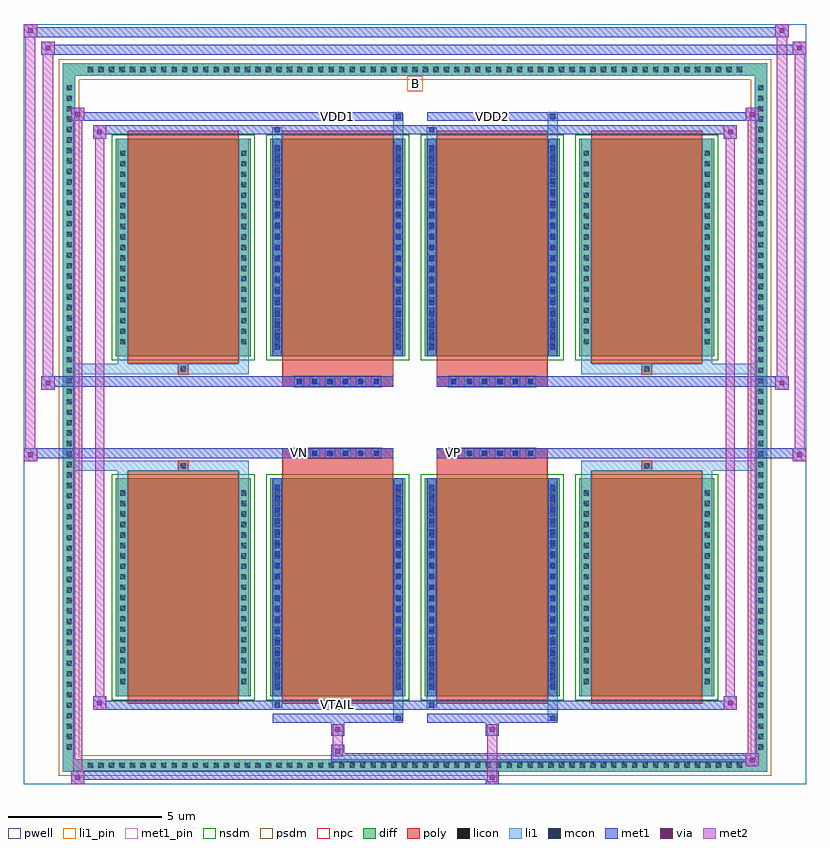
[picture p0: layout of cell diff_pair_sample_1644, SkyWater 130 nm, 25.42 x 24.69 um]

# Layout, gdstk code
import gdstk
lib = gdstk.Library(unit=1e-6, precision=5e-09)
def R(c, l, rs):  # rectangles x0, y0, x1, y1
    for r in rs: c.add(gdstk.rectangle(r[:2], r[2:], *l))
def A(c, l, x, y, w, h, nx, ny, dx, dy):  # array of equal rectangles
    R(c, l, [(x+i*dx, y+j*dy, x+i*dx+w, y+j*dy+h) for i in range(nx) for j in range(ny)])
def P(c, l, *ps):  # polygons
    for p in ps: c.add(gdstk.Polygon(p, *l))
pwell = (64, 44)
diff = (65, 20)
poly = (66, 20)
licon = (66, 44)
li1_pin = (67, 16)
li1 = (67, 20)
mcon = (67, 44)
met1_pin = (68, 16)
met1 = (68, 20)
via = (68, 44)
met2 = (69, 20)
nsdm = (93, 44)
psdm = (94, 20)
npc = (95, 20)

diff_pair_sample_1644 = lib.new_cell('diff_pair_sample_1644')
R(diff_pair_sample_1644, pwell, [(-12.71,-11.91,12.71,12.78), (-10.03,-10.1,-0.01,-0.8), (0.01,-10.1,10.03,-0.8), (-10.03,0.8,-0.01,10.1), (0.01,0.8,10.03,10.1)])
A(diff_pair_sample_1644, diff, -10.745, -11.51, 0.41, 0.41, 63, 2, 0.34, 22.61)
A(diff_pair_sample_1644, diff, -11.44, -10.915, 0.41, 0.41, 1, 64, 0, 0.34)
A(diff_pair_sample_1644, diff, 11.03, -10.915, 0.41, 0.41, 1, 64, 0, 0.34)
A(diff_pair_sample_1644, diff, -9.72, -9.055, 4.38, 7.07, 4, 2, 5.02, 11.04)
R(diff_pair_sample_1644, diff, [(-10.745,-11.51,10.745,-11.1), (-11.44,-10.915,-11.03,10.915), (11.03,-10.915,11.44,10.915), (-10.745,11.1,10.745,11.51)])
P(diff_pair_sample_1644, diff, [(11.44,11.51),(-11.44,11.51),(-11.44,-11.1),(-11.03,-11.1),(-11.03,11.1),(11.03,11.1),(11.03,-11.1),(-11.03,-11.1),(-11.44,-11.1),(-11.44,-11.51),(11.44,-11.51)])
A(diff_pair_sample_1644, poly, -9.33, -9.305, 3.6, 7.57, 4, 2, 5.02, 11.04)
A(diff_pair_sample_1644, poly, -3.925, -1.33, 0.33, 0.33, 6, 2, 0.5, 2.33)
A(diff_pair_sample_1644, poly, 1.095, -1.33, 0.33, 0.33, 6, 2, 0.5, 2.33)
R(diff_pair_sample_1644, poly, [(-7.695,-1.735,-7.365,-1.405), (-7.695,-1.735,-7.365,-1.405), (-4.31,-1.735,-0.71,-1.33), (0.71,-1.735,4.31,-1.33), (7.365,-1.735,7.695,-1.405), (7.365,-1.735,7.695,-1.405), (-4.31,-1.33,-0.71,-1), (0.71,-1.33,4.31,-1), (-4.31,1,-0.71,1.33), (0.71,1,4.31,1.33), (-4.31,1.33,-0.71,1.735), (0.71,1.33,4.31,1.735), (-7.695,1.405,-7.365,1.735), (-7.695,1.405,-7.365,1.735), (7.365,1.405,7.695,1.735), (7.365,1.405,7.695,1.735)])
A(diff_pair_sample_1644, licon, -10.625, -11.39, 0.17, 0.17, 63, 2, 0.34, 22.61)
A(diff_pair_sample_1644, licon, -11.32, -10.795, 0.17, 0.17, 1, 64, 0, 0.34)
A(diff_pair_sample_1644, licon, 11.15, -10.795, 0.17, 0.17, 1, 64, 0, 0.34)
A(diff_pair_sample_1644, licon, -9.58, -8.665, 0.17, 0.17, 1, 19, 0, 0.34)
A(diff_pair_sample_1644, licon, -5.65, -8.665, 0.17, 0.17, 1, 19, 0, 0.34)
A(diff_pair_sample_1644, licon, -4.56, -8.665, 0.17, 0.17, 1, 19, 0, 0.34)
A(diff_pair_sample_1644, licon, -0.63, -8.665, 0.17, 0.17, 1, 19, 0, 0.34)
A(diff_pair_sample_1644, licon, 0.46, -8.665, 0.17, 0.17, 1, 19, 0, 0.34)
A(diff_pair_sample_1644, licon, 4.39, -8.665, 0.17, 0.17, 1, 19, 0, 0.34)
A(diff_pair_sample_1644, licon, 5.48, -8.665, 0.17, 0.17, 1, 19, 0, 0.34)
A(diff_pair_sample_1644, licon, 9.41, -8.665, 0.17, 0.17, 1, 19, 0, 0.34)
A(diff_pair_sample_1644, licon, -3.845, -1.25, 0.17, 0.17, 6, 2, 0.5, 2.33)
A(diff_pair_sample_1644, licon, 1.175, -1.25, 0.17, 0.17, 6, 2, 0.5, 2.33)
A(diff_pair_sample_1644, licon, -9.58, 2.375, 0.17, 0.17, 1, 19, 0, 0.34)
A(diff_pair_sample_1644, licon, -5.65, 2.375, 0.17, 0.17, 1, 19, 0, 0.34)
A(diff_pair_sample_1644, licon, -4.56, 2.375, 0.17, 0.17, 1, 19, 0, 0.34)
A(diff_pair_sample_1644, licon, -0.63, 2.375, 0.17, 0.17, 1, 19, 0, 0.34)
A(diff_pair_sample_1644, licon, 0.46, 2.375, 0.17, 0.17, 1, 19, 0, 0.34)
A(diff_pair_sample_1644, licon, 4.39, 2.375, 0.17, 0.17, 1, 19, 0, 0.34)
A(diff_pair_sample_1644, licon, 5.48, 2.375, 0.17, 0.17, 1, 19, 0, 0.34)
A(diff_pair_sample_1644, licon, 9.41, 2.375, 0.17, 0.17, 1, 19, 0, 0.34)
R(diff_pair_sample_1644, licon, [(-7.615,-1.655,-7.445,-1.485), (7.445,-1.655,7.615,-1.485), (-7.615,1.485,-7.445,1.655), (7.445,1.485,7.615,1.655)])
R(diff_pair_sample_1644, li1_pin, [(-0.25,10.6,0.25,11.1)])
A(diff_pair_sample_1644, li1, -10.705, -11.47, 0.33, 0.33, 63, 2, 0.34, 22.61)
A(diff_pair_sample_1644, li1, -11.4, -10.875, 0.33, 0.33, 1, 64, 0, 0.34)
A(diff_pair_sample_1644, li1, 11.07, -10.875, 0.33, 0.33, 1, 64, 0, 0.34)
A(diff_pair_sample_1644, li1, -4.56, -8.845, 0.17, 0.17, 1, 19, 0, 0.36)
A(diff_pair_sample_1644, li1, -0.63, -8.845, 0.17, 0.17, 1, 19, 0, 0.36)
A(diff_pair_sample_1644, li1, 0.46, -8.845, 0.17, 0.17, 1, 19, 0, 0.36)
A(diff_pair_sample_1644, li1, 4.39, -8.845, 0.17, 0.17, 1, 19, 0, 0.36)
A(diff_pair_sample_1644, li1, -9.66, -8.745, 0.33, 0.33, 1, 19, 0, 0.34)
A(diff_pair_sample_1644, li1, -5.73, -8.745, 0.33, 0.33, 1, 19, 0, 0.34)
A(diff_pair_sample_1644, li1, -4.64, -8.745, 0.33, 0.33, 1, 19, 0, 0.34)
A(diff_pair_sample_1644, li1, -0.71, -8.745, 0.33, 0.33, 1, 19, 0, 0.34)
A(diff_pair_sample_1644, li1, 0.38, -8.745, 0.33, 0.33, 1, 19, 0, 0.34)
A(diff_pair_sample_1644, li1, 4.31, -8.745, 0.33, 0.33, 1, 19, 0, 0.34)
A(diff_pair_sample_1644, li1, 5.4, -8.745, 0.33, 0.33, 1, 19, 0, 0.34)
A(diff_pair_sample_1644, li1, 9.33, -8.745, 0.33, 0.33, 1, 19, 0, 0.34)
A(diff_pair_sample_1644, li1, -3.925, -1.33, 0.33, 0.33, 6, 2, 0.5, 2.33)
A(diff_pair_sample_1644, li1, 1.095, -1.33, 0.33, 0.33, 6, 2, 0.5, 2.33)
A(diff_pair_sample_1644, li1, -4.56, 2.195, 0.17, 0.17, 1, 19, 0, 0.36)
A(diff_pair_sample_1644, li1, -0.63, 2.195, 0.17, 0.17, 1, 19, 0, 0.36)
A(diff_pair_sample_1644, li1, 0.46, 2.195, 0.17, 0.17, 1, 19, 0, 0.36)
A(diff_pair_sample_1644, li1, 4.39, 2.195, 0.17, 0.17, 1, 19, 0, 0.36)
A(diff_pair_sample_1644, li1, -9.66, 2.295, 0.33, 0.33, 1, 19, 0, 0.34)
A(diff_pair_sample_1644, li1, -5.73, 2.295, 0.33, 0.33, 1, 19, 0, 0.34)
A(diff_pair_sample_1644, li1, -4.64, 2.295, 0.33, 0.33, 1, 19, 0, 0.34)
A(diff_pair_sample_1644, li1, -0.71, 2.295, 0.33, 0.33, 1, 19, 0, 0.34)
A(diff_pair_sample_1644, li1, 0.38, 2.295, 0.33, 0.33, 1, 19, 0, 0.34)
A(diff_pair_sample_1644, li1, 4.31, 2.295, 0.33, 0.33, 1, 19, 0, 0.34)
A(diff_pair_sample_1644, li1, 5.4, 2.295, 0.33, 0.33, 1, 19, 0, 0.34)
A(diff_pair_sample_1644, li1, 9.33, 2.295, 0.33, 0.33, 1, 19, 0, 0.34)
R(diff_pair_sample_1644, li1, [(-11.44,-11.51,-11.03,-11.1), (-11.44,-11.51,-11.03,-11.1), (-11.03,-11.51,11.03,-11.1), (11.03,-11.51,11.44,-11.1), (11.03,-11.51,11.44,-11.1), (-11.44,-11.1,-11.03,11.1), (11.03,-11.1,11.44,11.1), (-0.71,-9.86,-0.38,-9.055), (-0.63,-9.86,-0.46,-9.69), (4.31,-9.86,4.64,-9.055), (4.39,-9.86,4.56,-9.69), (-4.64,-9.43,-4.31,-9.055), (-4.56,-9.43,-4.39,-9.26), (0.38,-9.43,0.71,-9.055), (0.46,-9.43,0.63,-9.26), (-9.66,-9.055,-9.33,-1.985), (-5.73,-9.055,-5.4,-1.985), (-4.64,-9.055,-4.31,-1.985), (-0.71,-9.055,-0.38,-1.985), (0.38,-9.055,0.71,-1.985), (4.31,-9.055,4.64,-1.985), (5.4,-9.055,5.73,-1.985), (9.33,-9.055,9.66,-1.985), (-4.56,-8.845,-4.39,-2.195), (-0.63,-8.845,-0.46,-2.195), (0.46,-8.845,0.63,-2.195), (4.39,-8.845,4.56,-2.195), (-9.66,-1.985,-9.33,-1.405), (-5.73,-1.985,-5.4,-1.405), (5.4,-1.985,5.73,-1.405), (9.33,-1.985,9.66,-1.405), (-11.44,-1.735,-7.695,-1.405), (-9.66,-1.735,-7.695,-1.405), (-7.695,-1.735,-7.365,-1.405), (-7.365,-1.735,-5.4,-1.405), (5.4,-1.735,7.365,-1.405), (7.365,-1.735,7.695,-1.405), (7.365,-1.735,11.44,-1.405), (7.695,-1.735,9.66,-1.405), (-11.44,1.405,-7.695,1.735), (-9.66,1.405,-7.695,1.735), (-9.66,1.405,-9.33,1.985), (-7.695,1.405,-7.365,1.735), (-7.365,1.405,-5.4,1.735), (-5.73,1.405,-5.4,1.985), (5.4,1.405,7.365,1.735), (5.4,1.405,5.73,1.985), (7.365,1.405,7.695,1.735), (7.365,1.405,11.44,1.735), (7.695,1.405,9.66,1.735), (9.33,1.405,9.66,1.985), (-9.66,1.985,-9.33,9.055), (-5.73,1.985,-5.4,9.055), (-4.64,1.985,-4.31,9.055), (-0.71,1.985,-0.38,9.055), (0.38,1.985,0.71,9.055), (4.31,1.985,4.64,9.055), (5.4,1.985,5.73,9.055), (9.33,1.985,9.66,9.055), (-4.56,2.195,-4.39,8.845), (-0.63,2.195,-0.46,8.845), (0.46,2.195,0.63,8.845), (4.39,2.195,4.56,8.845), (-4.64,9.055,-4.31,9.43), (-0.71,9.055,-0.38,9.86), (0.38,9.055,0.71,9.43), (4.31,9.055,4.64,9.86), (-4.56,9.26,-4.39,9.43), (0.46,9.26,0.63,9.43), (-0.63,9.69,-0.46,9.86), (4.39,9.69,4.56,9.86), (-11.44,11.1,-11.03,11.51), (-11.44,11.1,-11.03,11.51), (-11.03,11.1,11.03,11.51), (11.03,11.1,11.44,11.51), (11.03,11.1,11.44,11.51)])
A(diff_pair_sample_1644, mcon, -4.56, -8.845, 0.17, 0.17, 1, 19, 0, 0.36)
A(diff_pair_sample_1644, mcon, -0.63, -8.845, 0.17, 0.17, 1, 19, 0, 0.36)
A(diff_pair_sample_1644, mcon, 0.46, -8.845, 0.17, 0.17, 1, 19, 0, 0.36)
A(diff_pair_sample_1644, mcon, 4.39, -8.845, 0.17, 0.17, 1, 19, 0, 0.36)
A(diff_pair_sample_1644, mcon, -3.845, -1.25, 0.17, 0.17, 6, 2, 0.5, 2.33)
A(diff_pair_sample_1644, mcon, 1.175, -1.25, 0.17, 0.17, 6, 2, 0.5, 2.33)
A(diff_pair_sample_1644, mcon, -4.56, 2.195, 0.17, 0.17, 1, 19, 0, 0.36)
A(diff_pair_sample_1644, mcon, -0.63, 2.195, 0.17, 0.17, 1, 19, 0, 0.36)
A(diff_pair_sample_1644, mcon, 0.46, 2.195, 0.17, 0.17, 1, 19, 0, 0.36)
A(diff_pair_sample_1644, mcon, 4.39, 2.195, 0.17, 0.17, 1, 19, 0, 0.36)
R(diff_pair_sample_1644, mcon, [(-0.63,-9.86,-0.46,-9.69), (4.39,-9.86,4.56,-9.69), (-4.56,-9.43,-4.39,-9.26), (0.46,-9.43,0.63,-9.26), (-4.56,9.26,-4.39,9.43), (0.46,9.26,0.63,9.43), (-0.63,9.69,-0.46,9.86), (4.39,9.69,4.56,9.86)])
R(diff_pair_sample_1644, met1_pin, [(-2.645,-9.47,-2.375,-9.2), (-3.895,-1.29,-3.625,-1.02), (1.125,-1.29,1.395,-1.02), (-2.645,9.65,-2.375,9.92), (2.375,9.65,2.645,9.92)])
A(diff_pair_sample_1644, met1, -4.62, -8.905, 0.29, 0.29, 1, 19, 0, 0.36)
A(diff_pair_sample_1644, met1, -0.69, -8.905, 0.29, 0.29, 1, 19, 0, 0.36)
A(diff_pair_sample_1644, met1, 0.4, -8.905, 0.29, 0.29, 1, 19, 0, 0.36)
A(diff_pair_sample_1644, met1, 4.33, -8.905, 0.29, 0.29, 1, 19, 0, 0.36)
A(diff_pair_sample_1644, met1, -3.905, -1.31, 0.29, 0.29, 6, 2, 0.5, 2.33)
A(diff_pair_sample_1644, met1, 1.115, -1.31, 0.29, 0.29, 6, 2, 0.5, 2.33)
A(diff_pair_sample_1644, met1, -4.62, 2.135, 0.29, 0.29, 1, 19, 0, 0.36)
A(diff_pair_sample_1644, met1, -0.69, 2.135, 0.29, 0.29, 1, 19, 0, 0.36)
A(diff_pair_sample_1644, met1, 0.4, 2.135, 0.29, 0.29, 1, 19, 0, 0.36)
A(diff_pair_sample_1644, met1, 4.33, 2.135, 0.29, 0.29, 1, 19, 0, 0.36)
R(diff_pair_sample_1644, met1, [(-11.17,-11.91,-10.74,-11.48), (2.295,-11.91,2.725,-11.48), (-11.17,-11.77,2.725,-11.48), (10.74,-11.34,11.17,-10.91), (-2.725,-11.2,11.17,-10.91), (-2.725,-11.06,-2.295,-10.63), (-2.725,-10.35,-2.295,-9.92), (2.295,-10.35,2.725,-9.92), (-4.62,-9.92,-0.4,-9.63), (-0.69,-9.92,-0.4,-9.63), (0.4,-9.92,4.62,-9.63), (4.33,-9.92,4.62,-9.63), (-10.46,-9.49,-10.03,-9.06), (-10.46,-9.49,-4.62,-9.2), (-4.62,-9.49,-4.33,-9.2), (-4.62,-9.49,-0.4,-9.2), (-0.4,-9.49,0.4,-9.2), (0.4,-9.49,0.69,-9.2), (0.4,-9.49,4.62,-9.2), (4.62,-9.49,10.46,-9.2), (10.03,-9.49,10.46,-9.06), (-4.62,-9.055,-4.33,-1.985), (-0.69,-9.055,-0.4,-1.985), (0.4,-9.055,0.69,-1.985), (4.33,-9.055,4.62,-1.985), (-12.71,-1.43,-12.28,-1), (12.28,-1.43,12.71,-1), (-12.71,-1.33,-0.71,-1), (-4.31,-1.33,-0.71,-1), (0.71,-1.33,4.31,-1), (0.71,-1.33,12.71,-1), (-12.14,0.9,-11.71,1.33), (11.71,0.9,12.14,1.33), (-12.14,1,-4.31,1.33), (-4.31,1,-0.71,1.33), (0.71,1,4.31,1.33), (4.31,1,12.14,1.33), (-4.62,1.985,-4.33,9.055), (-0.69,1.985,-0.4,9.055), (0.4,1.985,0.69,9.055), (4.33,1.985,4.62,9.055), (-10.46,9.06,-10.03,9.49), (10.03,9.06,10.46,9.49), (-10.46,9.2,-4.62,9.49), (-4.62,9.2,-4.33,9.49), (-4.62,9.2,-0.4,9.49), (-0.4,9.2,0.4,9.49), (0.4,9.2,0.69,9.49), (0.4,9.2,4.62,9.49), (4.62,9.2,10.46,9.49), (-11.17,9.63,-10.74,10.06), (-11.17,9.63,-4.62,9.92), (-4.62,9.63,-0.4,9.92), (-0.69,9.63,-0.4,9.92), (0.4,9.63,4.62,9.92), (4.33,9.63,4.62,9.92), (4.62,9.63,11.17,9.92), (10.74,9.63,11.17,10.06), (-12.14,11.78,-11.71,12.21), (-12.14,11.78,-10.03,12.11), (-10.03,11.78,10.03,12.11), (10.03,11.78,12.71,12.11), (12.28,11.78,12.71,12.21), (-12.71,12.35,-12.28,12.78), (-12.71,12.35,-10.03,12.68), (-10.03,12.35,10.03,12.68), (10.03,12.35,12.14,12.68), (11.71,12.35,12.14,12.78)])
R(diff_pair_sample_1644, via, [(-11.03,-11.77,-10.88,-11.62), (2.435,-11.77,2.585,-11.62), (10.88,-11.2,11.03,-11.05), (-2.585,-10.92,-2.435,-10.77), (-2.585,-10.21,-2.435,-10.06), (2.435,-10.21,2.585,-10.06), (-10.32,-9.35,-10.17,-9.2), (10.17,-9.35,10.32,-9.2), (-12.57,-1.29,-12.42,-1.14), (12.42,-1.29,12.57,-1.14), (-12,1.04,-11.85,1.19), (11.85,1.04,12,1.19), (-10.32,9.2,-10.17,9.35), (10.17,9.2,10.32,9.35), (-11.03,9.77,-10.88,9.92), (10.88,9.77,11.03,9.92), (-12,11.92,-11.85,12.07), (12.42,11.92,12.57,12.07), (-12.57,12.49,-12.42,12.64), (11.85,12.49,12,12.64)])
R(diff_pair_sample_1644, met2, [(-11.17,-11.91,-10.74,-11.48), (-11.1,-11.91,-10.81,10.06), (-10.81,-11.91,-10.74,-11.48), (-11.12,-11.86,-10.79,-11.53), (2.345,-11.86,2.675,-11.53), (2.345,-11.53,2.675,-10.3), (10.74,-11.34,11.17,-10.91), (10.81,-11.34,11.1,10.06), (11.1,-11.34,11.17,-10.91), (10.79,-11.29,11.12,-10.96), (-2.675,-11.01,-2.345,-10.68), (-2.675,-10.68,-2.345,-10.3), (-2.675,-10.3,-2.345,-9.97), (2.345,-10.3,2.675,-9.97), (-10.46,-9.49,-10.03,-9.06), (-10.39,-9.49,-10.1,9.49), (-10.1,-9.49,-10.03,-9.06), (10.03,-9.49,10.46,-9.06), (10.1,-9.49,10.39,9.49), (10.39,-9.49,10.46,-9.06), (-10.41,-9.44,-10.08,-9.11), (10.08,-9.44,10.41,-9.11), (-12.71,-1.43,-12.28,-1), (-12.66,-1.43,-12.33,12.78), (-12.33,-1.43,-12.28,-1), (12.28,-1.43,12.71,-1), (12.33,-1.43,12.66,12.21), (12.66,-1.43,12.71,-1), (-12.66,-1.38,-12.33,-1.05), (12.33,-1.38,12.66,-1.05), (-12.14,0.9,-11.71,1.33), (-12.09,0.9,-11.76,12.21), (-11.76,0.9,-11.71,1.33), (11.71,0.9,12.14,1.33), (11.76,0.9,12.09,12.78), (12.09,0.9,12.14,1.33), (-12.09,0.95,-11.76,1.28), (11.76,0.95,12.09,1.28), (-10.46,9.06,-10.03,9.49), (-10.1,9.06,-10.03,9.49), (10.03,9.06,10.46,9.49), (10.39,9.06,10.46,9.49), (-10.41,9.11,-10.08,9.44), (10.08,9.11,10.41,9.44), (-11.17,9.63,-10.74,10.06), (-10.81,9.63,-10.74,10.06), (10.74,9.63,11.17,10.06), (11.1,9.63,11.17,10.06), (-11.12,9.68,-10.79,10.01), (10.79,9.68,11.12,10.01), (-12.14,11.78,-11.71,12.21), (-11.76,11.78,-11.71,12.21), (12.28,11.78,12.71,12.21), (12.66,11.78,12.71,12.21), (-12.09,11.83,-11.76,12.16), (12.33,11.83,12.66,12.16), (-12.71,12.35,-12.28,12.78), (-12.33,12.35,-12.28,12.78), (11.71,12.35,12.14,12.78), (12.09,12.35,12.14,12.78), (-12.66,12.4,-12.33,12.73), (11.76,12.4,12.09,12.73)])
A(diff_pair_sample_1644, nsdm, -9.85, -9.185, 4.64, 7.33, 4, 2, 5.02, 11.04)
P(diff_pair_sample_1644, psdm, [(11.57,11.64),(-11.57,11.64),(-11.57,-10.97),(-10.9,-10.97),(-10.9,10.97),(10.9,10.97),(10.9,-10.97),(-10.9,-10.97),(-11.57,-10.97),(-11.57,-11.64),(11.57,-11.64)])
A(diff_pair_sample_1644, npc, -3.945, -1.35, 0.37, 0.37, 6, 2, 0.5, 2.33)
A(diff_pair_sample_1644, npc, 1.075, -1.35, 0.37, 0.37, 6, 2, 0.5, 2.33)
R(diff_pair_sample_1644, npc, [(-7.715,-1.755,-7.345,-1.385), (7.345,-1.755,7.715,-1.385), (-3.945,-1.35,-3.075,-0.98), (-3.945,-1.35,-3.075,-0.98), (-3.445,-1.35,-2.575,-0.98), (-3.445,-1.35,-2.575,-0.98), (-2.945,-1.35,-2.075,-0.98), (-2.945,-1.35,-2.075,-0.98), (-2.445,-1.35,-1.575,-0.98), (-2.445,-1.35,-1.575,-0.98), (-1.945,-1.35,-1.075,-0.98), (-1.945,-1.35,-1.075,-0.98), (1.075,-1.35,1.945,-0.98), (1.075,-1.35,1.945,-0.98), (1.575,-1.35,2.445,-0.98), (1.575,-1.35,2.445,-0.98), (2.075,-1.35,2.945,-0.98), (2.075,-1.35,2.945,-0.98), (2.575,-1.35,3.445,-0.98), (2.575,-1.35,3.445,-0.98), (3.075,-1.35,3.945,-0.98), (3.075,-1.35,3.945,-0.98), (-3.945,0.98,-3.075,1.35), (-3.945,0.98,-3.075,1.35), (-3.445,0.98,-2.575,1.35), (-3.445,0.98,-2.575,1.35), (-2.945,0.98,-2.075,1.35), (-2.945,0.98,-2.075,1.35), (-2.445,0.98,-1.575,1.35), (-2.445,0.98,-1.575,1.35), (-1.945,0.98,-1.075,1.35), (-1.945,0.98,-1.075,1.35), (1.075,0.98,1.945,1.35), (1.075,0.98,1.945,1.35), (1.575,0.98,2.445,1.35), (1.575,0.98,2.445,1.35), (2.075,0.98,2.945,1.35), (2.075,0.98,2.945,1.35), (2.575,0.98,3.445,1.35), (2.575,0.98,3.445,1.35), (3.075,0.98,3.945,1.35), (3.075,0.98,3.945,1.35), (-7.715,1.385,-7.345,1.755), (7.345,1.385,7.715,1.755)])
diff_pair_sample_1644.add(gdstk.Label('VTAIL', (-2.51,-9.335), layer=68, texttype=5))
diff_pair_sample_1644.add(gdstk.Label('VN', (-3.76,-1.155), layer=68, texttype=5))
diff_pair_sample_1644.add(gdstk.Label('VP', (1.26,-1.155), layer=68, texttype=5))
diff_pair_sample_1644.add(gdstk.Label('B', (0,10.85), layer=67, texttype=5))
diff_pair_sample_1644.add(gdstk.Label('VDD2', (2.51,9.785), layer=68, texttype=5))
diff_pair_sample_1644.add(gdstk.Label('VDD1', (-2.51,9.785), layer=68, texttype=5))

lib.write_gds('diff_pair_sample_1644.gds')
